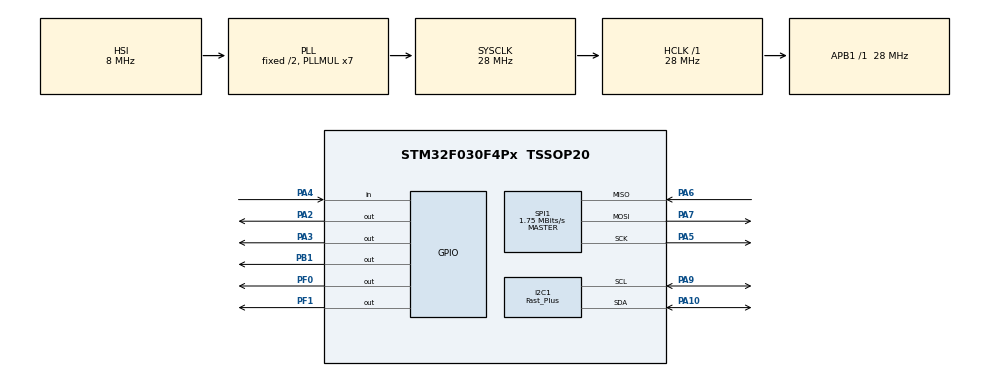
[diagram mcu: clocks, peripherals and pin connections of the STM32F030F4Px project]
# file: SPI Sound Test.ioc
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I2C1.I2C_Speed_Mode=I2C_Fast_Plus
I2C1.Timing=0x20000203
Mcu.Family=STM32F0
Mcu.Name=STM32F030F4Px
Mcu.Package=TSSOP20
PA10.Mode=I2C
PA10.Signal=I2C1_SDA
PA2.Signal=GPIO_Output
PA3.Signal=GPIO_Output
PA4.GPIO_PuPd=GPIO_PULLUP
PA4.Signal=GPIO_Input
PA5.Mode=Full_Duplex_Master
PA5.Signal=SPI1_SCK
PA6.Mode=Full_Duplex_Master
PA6.Signal=SPI1_MISO
PA7.Mode=Full_Duplex_Master
PA7.Signal=SPI1_MOSI
PA9.Mode=I2C
PA9.Signal=I2C1_SCL
PB1.Signal=GPIO_Output
PF0-OSC_IN.Signal=GPIO_Output
PF1-OSC_OUT.Signal=GPIO_Output
ProjectManager.HeapSize=0x200
ProjectManager.StackSize=0x400
ProjectManager.TargetToolchain=SW4STM32
RCC.AHBFreq_Value=28000000
RCC.APB1Freq_Value=28000000
RCC.APB1TimFreq_Value=28000000
RCC.HCLKFreq_Value=28000000
RCC.I2c1ClockSelection=RCC_I2C1CLKSOURCE_SYSCLK
RCC.PLLMUL=RCC_PLL_MUL7
RCC.SYSCLKFreq_VALUE=28000000
RCC.SYSCLKSource=RCC_SYSCLKSOURCE_PLLCLK
SPI1.BaudRatePrescaler=SPI_BAUDRATEPRESCALER_16
SPI1.CalculateBaudRate=1.75 MBits/s
SPI1.DataSize=SPI_DATASIZE_8BIT
SPI1.Direction=SPI_DIRECTION_2LINES
SPI1.Mode=SPI_MODE_MASTER
SPI1.VirtualType=VM_MASTER
board=custom

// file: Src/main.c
/**
  ******************************************************************************
  * @file           : main.c
  * @brief          : Main program body
  ******************************************************************************
  ** This notice applies to any and all portions of this file
  * that are not between comment pairs USER CODE BEGIN and
  * USER CODE END. Other portions of this file, whether
  * inserted by the user or by software development tools
  * are owned by their respective copyright owners.
  *
  * COPYRIGHT(c) 2019 STMicroelectronics
  *
  * Redistribution and use in source and binary forms, with or without modification,
  * are permitted provided that the following conditions are met:
  *   1. Redistributions of source code must retain the above copyright notice,
  *      this list of conditions and the following disclaimer.
  *   2. Redistributions in binary form must reproduce the above copyright notice,
  *      this list of conditions and the following disclaimer in the documentation
  *      and/or other materials provided with the distribution.
  *   3. Neither the name of STMicroelectronics nor the names of its contributors
  *      may be used to endorse or promote products derived from this software
  *      without specific prior written permission.
  *
  * THIS SOFTWARE IS PROVIDED BY THE COPYRIGHT HOLDERS AND CONTRIBUTORS "AS IS"
  * AND ANY EXPRESS OR IMPLIED WARRANTIES, INCLUDING, BUT NOT LIMITED TO, THE
  * IMPLIED WARRANTIES OF MERCHANTABILITY AND FITNESS FOR A PARTICULAR PURPOSE ARE
  * DISCLAIMED. IN NO EVENT SHALL THE COPYRIGHT HOLDER OR CONTRIBUTORS BE LIABLE
  * FOR ANY DIRECT, INDIRECT, INCIDENTAL, SPECIAL, EXEMPLARY, OR CONSEQUENTIAL
  * DAMAGES (INCLUDING, BUT NOT LIMITED TO, PROCUREMENT OF SUBSTITUTE GOODS OR
  * SERVICES; LOSS OF USE, DATA, OR PROFITS; OR BUSINESS INTERRUPTION) HOWEVER
  * CAUSED AND ON ANY THEORY OF LIABILITY, WHETHER IN CONTRACT, STRICT LIABILITY,
  * OR TORT (INCLUDING NEGLIGENCE OR OTHERWISE) ARISING IN ANY WAY OUT OF THE USE
  * OF THIS SOFTWARE, EVEN IF ADVISED OF THE POSSIBILITY OF SUCH DAMAGE.
  *
  ******************************************************************************
  */
#include "main.h"
#include "stm32f0xx_hal.h"

/* USER CODE BEGIN Includes */
#include "MY_NRF24.h"
/* USER CODE END Includes */

I2C_HandleTypeDef hi2c1;

SPI_HandleTypeDef hspi1;

/* USER CODE BEGIN PV */
/* Private variables ---------------------------------------------------------*/

/* USER CODE END PV */

void SystemClock_Config(void);
static void MX_GPIO_Init(void);
static void MX_SPI1_Init(void);
static void MX_I2C1_Init(void);

/* USER CODE BEGIN PFP */
/* Private function prototypes -----------------------------------------------*/

/* USER CODE END PFP */

/* USER CODE BEGIN 0 */

unsigned char buffer[3];

void dacOutput(char eightBitValue)
{

	//int twelveBitValue = eightBitValue * ((1 << 12) - 1) / ((1 << 8) - 1);
	int twelveBitValue = eightBitValue << 4 | eightBitValue >> 4;
	buffer[0] = 0x40;
	buffer[1] = twelveBitValue>>4;
	buffer[2] = twelveBitValue<<4;
	HAL_I2C_Master_Transmit(&hi2c1, 0x61<<1, buffer, 3, 100);
}

char flashRead(int location)
{
	uint8_t spiTxBuf[4], spiRxBuf[1];

	HAL_GPIO_WritePin(GPIOA, GPIO_PIN_3, GPIO_PIN_RESET);

	spiTxBuf[0] = 0x03;
	spiTxBuf[1] = location>>16; //first byte of address
	spiTxBuf[2] = location>>8; //second byte of address
	spiTxBuf[3] = location; //third byte of address
	HAL_SPI_Transmit(&hspi1, spiTxBuf, 4, 50);
	HAL_SPI_Receive(&hspi1, spiRxBuf, 1, 50);
	//HAL_SPI_TransmitReceive(&hspi1, spiTxBuf, spiRxBuf, 4, 50);
	HAL_GPIO_WritePin(GPIOA, GPIO_PIN_3, GPIO_PIN_SET);
	return spiRxBuf[0];
}
/* USER CODE END 0 */

int main(void)
{

  /* MCU Configuration----------------------------------------------------------*/

  /* Reset of all peripherals, Initializes the Flash interface and the Systick. */
  HAL_Init();

  /* Configure the system clock */
  SystemClock_Config();

  /* Initialize all configured peripherals */
  MX_GPIO_Init();
  MX_SPI1_Init();
  MX_I2C1_Init();
  /* USER CODE BEGIN 2 */
  /*
  int pos = 0x00002c;
  int end = 0x007930;
  */
  //size_t ledlength = sizeof(sounddata)/sizeof(sounddata[0]);
  char rxData[50];
  char txData[32] = "done";
  char waiting = 1;

  HAL_GPIO_WritePin(GPIOA, GPIO_PIN_3, GPIO_PIN_SET);
  HAL_GPIO_WritePin(GPIOA, GPIO_PIN_2, GPIO_PIN_RESET);

  HAL_Delay(100);

  NRF24_begin(GPIOA, GPIO_PIN_2, NULL, hspi1);

  NRF24_setAutoAck(true);
  NRF24_setChannel(52);
  NRF24_setPayloadSize(32);

  NRF24_openReadingPipe(1, 0x11223344AA);
  NRF24_startListening();

  /* USER CODE END 2 */

  /* Infinite loop */
  /* USER CODE BEGIN WHILE */
  while (1)
  {
	  if (waiting)
	  {
		  if (!HAL_GPIO_ReadPin(GPIOA, GPIO_PIN_4))
		  {
			  HAL_GPIO_WritePin(GPIOB, GPIO_PIN_1, SET);
			  HAL_GPIO_WritePin(GPIOF, GPIO_PIN_0, SET);
			  HAL_GPIO_WritePin(GPIOF, GPIO_PIN_1, SET);
		  }
		  else
		  {
			  HAL_GPIO_WritePin(GPIOB, GPIO_PIN_1, RESET);
			  HAL_GPIO_WritePin(GPIOF, GPIO_PIN_0, RESET);
			  HAL_GPIO_WritePin(GPIOF, GPIO_PIN_1, RESET);
		  }

		  if (NRF24_available())
		  {
			  NRF24_read(rxData, 32);
			  if (strcmp(rxData, "play") == 0)
			  {
				  for (int i = 0x00002c; i < 0x0051A0; i++)
				  {
					  dacOutput(flashRead(i));
				  }
				  waiting = 0;
			  }
		  }
	  }
	  else
	  {
		  NRF24_stopListening();
		  NRF24_openWritingPipe(0x11223344AA);
		  NRF24_write(txData, 32);
		  dacOutput(0);
	  }
	  /*
	  if (pos < end)
	  {
		  dacOutput(flashRead(pos));
		  pos++;
	  }
	  else
	  {
		  pos = 0x00002c;
	  }
	  */

  /* USER CODE END WHILE */

  }

}

void SystemClock_Config(void)
{

  RCC_OscInitTypeDef RCC_OscInitStruct;
  RCC_ClkInitTypeDef RCC_ClkInitStruct;
  RCC_PeriphCLKInitTypeDef PeriphClkInit;

    /**Initializes the CPU, AHB and APB busses clocks
    */
  RCC_OscInitStruct.OscillatorType = RCC_OSCILLATORTYPE_HSI;
  RCC_OscInitStruct.HSIState = RCC_HSI_ON;
  RCC_OscInitStruct.HSICalibrationValue = 16;
  RCC_OscInitStruct.PLL.PLLState = RCC_PLL_ON;
  RCC_OscInitStruct.PLL.PLLSource = RCC_PLLSOURCE_HSI;
  RCC_OscInitStruct.PLL.PLLMUL = RCC_PLL_MUL7;
  RCC_OscInitStruct.PLL.PREDIV = RCC_PREDIV_DIV1;
  if (HAL_RCC_OscConfig(&RCC_OscInitStruct) != HAL_OK)
  {
    _Error_Handler(__FILE__, __LINE__);
  }

    /**Initializes the CPU, AHB and APB busses clocks
    */
  RCC_ClkInitStruct.ClockType = RCC_CLOCKTYPE_HCLK|RCC_CLOCKTYPE_SYSCLK
                              |RCC_CLOCKTYPE_PCLK1;
  RCC_ClkInitStruct.SYSCLKSource = RCC_SYSCLKSOURCE_PLLCLK;
  RCC_ClkInitStruct.AHBCLKDivider = RCC_SYSCLK_DIV1;
  RCC_ClkInitStruct.APB1CLKDivider = RCC_HCLK_DIV1;

  if (HAL_RCC_ClockConfig(&RCC_ClkInitStruct, FLASH_LATENCY_1) != HAL_OK)
  {
    _Error_Handler(__FILE__, __LINE__);
  }

  PeriphClkInit.PeriphClockSelection = RCC_PERIPHCLK_I2C1;
  PeriphClkInit.I2c1ClockSelection = RCC_I2C1CLKSOURCE_SYSCLK;
  if (HAL_RCCEx_PeriphCLKConfig(&PeriphClkInit) != HAL_OK)
  {
    _Error_Handler(__FILE__, __LINE__);
  }

    /**Configure the Systick interrupt time
    */
  HAL_SYSTICK_Config(HAL_RCC_GetHCLKFreq()/1000);

    /**Configure the Systick
    */
  HAL_SYSTICK_CLKSourceConfig(SYSTICK_CLKSOURCE_HCLK);

  /* SysTick_IRQn interrupt configuration */
  HAL_NVIC_SetPriority(SysTick_IRQn, 0, 0);
}

/* I2C1 init function */
static void MX_I2C1_Init(void)
{

  hi2c1.Instance = I2C1;
  hi2c1.Init.Timing = 0x20000203;
  hi2c1.Init.OwnAddress1 = 0;
  hi2c1.Init.AddressingMode = I2C_ADDRESSINGMODE_7BIT;
  hi2c1.Init.DualAddressMode = I2C_DUALADDRESS_DISABLE;
  hi2c1.Init.OwnAddress2 = 0;
  hi2c1.Init.OwnAddress2Masks = I2C_OA2_NOMASK;
  hi2c1.Init.GeneralCallMode = I2C_GENERALCALL_DISABLE;
  hi2c1.Init.NoStretchMode = I2C_NOSTRETCH_DISABLE;
  if (HAL_I2C_Init(&hi2c1) != HAL_OK)
  {
    _Error_Handler(__FILE__, __LINE__);
  }

    /**Configure Analogue filter
    */
  if (HAL_I2CEx_ConfigAnalogFilter(&hi2c1, I2C_ANALOGFILTER_ENABLE) != HAL_OK)
  {
    _Error_Handler(__FILE__, __LINE__);
  }

    /**Configure Digital filter
    */
  if (HAL_I2CEx_ConfigDigitalFilter(&hi2c1, 0) != HAL_OK)
  {
    _Error_Handler(__FILE__, __LINE__);
  }

    /**I2C Fast mode Plus enable
    */
  __HAL_SYSCFG_FASTMODEPLUS_ENABLE(I2C_FASTMODEPLUS_I2C1);

}

/* SPI1 init function */
static void MX_SPI1_Init(void)
{

  /* SPI1 parameter configuration*/
  hspi1.Instance = SPI1;
  hspi1.Init.Mode = SPI_MODE_MASTER;
  hspi1.Init.Direction = SPI_DIRECTION_2LINES;
  hspi1.Init.DataSize = SPI_DATASIZE_8BIT;
  hspi1.Init.CLKPolarity = SPI_POLARITY_LOW;
  hspi1.Init.CLKPhase = SPI_PHASE_1EDGE;
  hspi1.Init.NSS = SPI_NSS_SOFT;
  hspi1.Init.BaudRatePrescaler = SPI_BAUDRATEPRESCALER_16;
  hspi1.Init.FirstBit = SPI_FIRSTBIT_MSB;
  hspi1.Init.TIMode = SPI_TIMODE_DISABLE;
  hspi1.Init.CRCCalculation = SPI_CRCCALCULATION_DISABLE;
  hspi1.Init.CRCPolynomial = 7;
  hspi1.Init.CRCLength = SPI_CRC_LENGTH_DATASIZE;
  hspi1.Init.NSSPMode = SPI_NSS_PULSE_ENABLE;
  if (HAL_SPI_Init(&hspi1) != HAL_OK)
  {
    _Error_Handler(__FILE__, __LINE__);
  }

}

/** Configure pins as
        * Analog
        * Input
        * Output
        * EVENT_OUT
        * EXTI
*/
static void MX_GPIO_Init(void)
{

  GPIO_InitTypeDef GPIO_InitStruct;

  /* GPIO Ports Clock Enable */
  __HAL_RCC_GPIOF_CLK_ENABLE();
  __HAL_RCC_GPIOA_CLK_ENABLE();
  __HAL_RCC_GPIOB_CLK_ENABLE();

  /*Configure GPIO pin Output Level */
  HAL_GPIO_WritePin(GPIOF, GPIO_PIN_0|GPIO_PIN_1, GPIO_PIN_RESET);

  /*Configure GPIO pin Output Level */
  HAL_GPIO_WritePin(GPIOA, GPIO_PIN_2|GPIO_PIN_3, GPIO_PIN_RESET);

  /*Configure GPIO pin Output Level */
  HAL_GPIO_WritePin(GPIOB, GPIO_PIN_1, GPIO_PIN_RESET);

  /*Configure GPIO pins : PF0 PF1 */
  GPIO_InitStruct.Pin = GPIO_PIN_0|GPIO_PIN_1;
  GPIO_InitStruct.Mode = GPIO_MODE_OUTPUT_PP;
  GPIO_InitStruct.Pull = GPIO_NOPULL;
  GPIO_InitStruct.Speed = GPIO_SPEED_FREQ_LOW;
  HAL_GPIO_Init(GPIOF, &GPIO_InitStruct);

  /*Configure GPIO pins : PA2 PA3 */
  GPIO_InitStruct.Pin = GPIO_PIN_2|GPIO_PIN_3;
  GPIO_InitStruct.Mode = GPIO_MODE_OUTPUT_PP;
  GPIO_InitStruct.Pull = GPIO_NOPULL;
  GPIO_InitStruct.Speed = GPIO_SPEED_FREQ_LOW;
  HAL_GPIO_Init(GPIOA, &GPIO_InitStruct);

  /*Configure GPIO pin : PA4 */
  GPIO_InitStruct.Pin = GPIO_PIN_4;
  GPIO_InitStruct.Mode = GPIO_MODE_INPUT;
  GPIO_InitStruct.Pull = GPIO_PULLUP;
  HAL_GPIO_Init(GPIOA, &GPIO_InitStruct);

  /*Configure GPIO pin : PB1 */
  GPIO_InitStruct.Pin = GPIO_PIN_1;
  GPIO_InitStruct.Mode = GPIO_MODE_OUTPUT_PP;
  GPIO_InitStruct.Pull = GPIO_NOPULL;
  GPIO_InitStruct.Speed = GPIO_SPEED_FREQ_LOW;
  HAL_GPIO_Init(GPIOB, &GPIO_InitStruct);

}

void _Error_Handler(char *file, int line)
{
  while(1)
  {
  }
}

/************************ (C) COPYRIGHT STMicroelectronics *****END OF FILE****/
